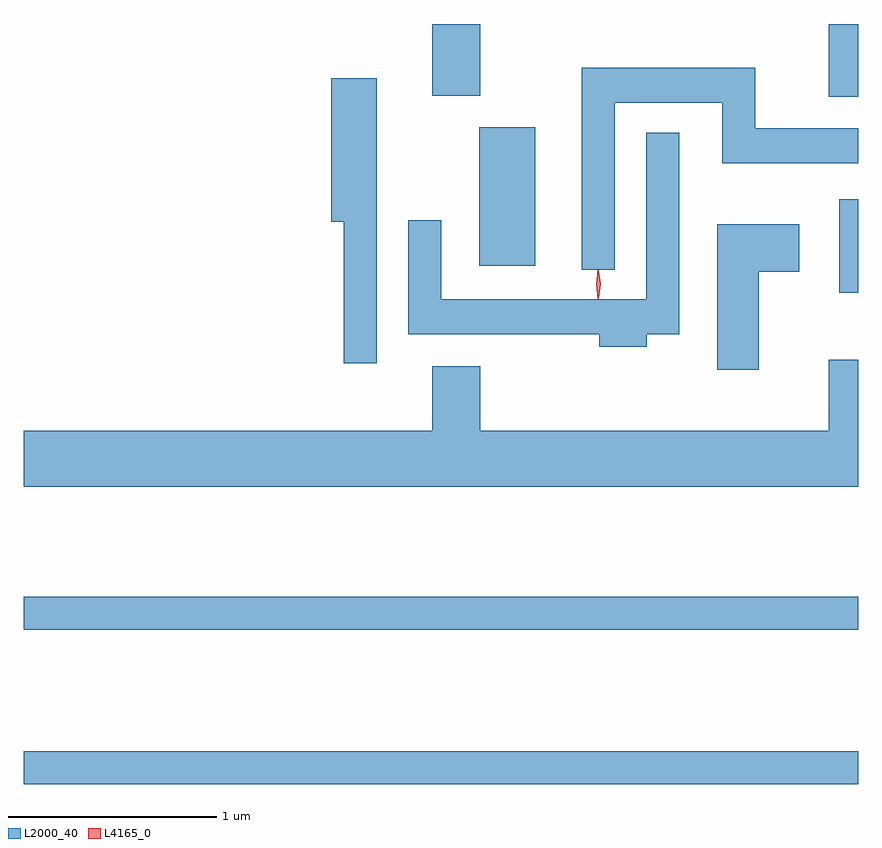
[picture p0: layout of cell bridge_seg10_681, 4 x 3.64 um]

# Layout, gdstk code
import gdstk
lib = gdstk.Library(unit=1e-6, precision=1e-09)
def R(c, l, rs):  # rectangles x0, y0, x1, y1
    for r in rs: c.add(gdstk.rectangle(r[:2], r[2:], *l))
def P(c, l, *ps):  # polygons
    for p in ps: c.add(gdstk.Polygon(p, *l))
L2000_40 = (2000, 40)
L4165_0 = (4165, 0)

bridge_seg10_681 = lib.new_cell('bridge_seg10_681')
R(bridge_seg10_681, L2000_40, [(961.962,2083.631,965.962,2083.789), (961.962,2084.371,965.962,2084.529), (965.871,2085.986,965.962,2086.434), (964.146,2086.116,964.414,2086.779), (965.821,2086.926,965.962,2087.274), (963.921,2086.931,964.149,2087.274)])
P(bridge_seg10_681, L2000_40, [(964.794,2086.896),(965.311,2086.896),(965.311,2086.606),(965.962,2086.606),(965.962,2086.774),(965.469,2086.774),(965.469,2087.064),(964.636,2087.064),(964.636,2086.097),(964.794,2086.097)],
  [(963.654,2087.014),(963.436,2087.014),(963.436,2086.326),(963.496,2086.326),(963.496,2085.648),(963.654,2085.648)],
  [(964.949,2085.786),(965.104,2085.786),(965.104,2086.753),(964.946,2086.753),(964.946,2085.954),(963.964,2085.954),(963.964,2086.333),(963.806,2086.333),(963.806,2085.786),(964.721,2085.786),(964.721,2085.726),(964.949,2085.726)],
  [(965.484,2086.086),(965.679,2086.086),(965.679,2086.314),(965.286,2086.314),(965.286,2085.616),(965.484,2085.616)],
  [(965.962,2085.664),(965.821,2085.664),(965.821,2085.324),(964.149,2085.324),(964.149,2085.634),(963.921,2085.634),(963.921,2085.324),(961.962,2085.324),(961.962,2085.056),(965.962,2085.056)])
P(bridge_seg10_681, L4165_0, [(964.714,2085.957),(964.705,2086.026),(964.714,2086.096),(964.715,2086.096),(964.715,2086.096),(964.725,2086.026),(964.715,2085.957),(964.715,2085.957)],
  [(964.718,2085.959),(964.718,2085.96),(964.708,2086.026),(964.717,2086.092),(964.718,2086.093),(964.718,2086.092),(964.728,2086.026),(964.719,2085.96)])

lib.write_gds('bridge_seg10_681.gds')
